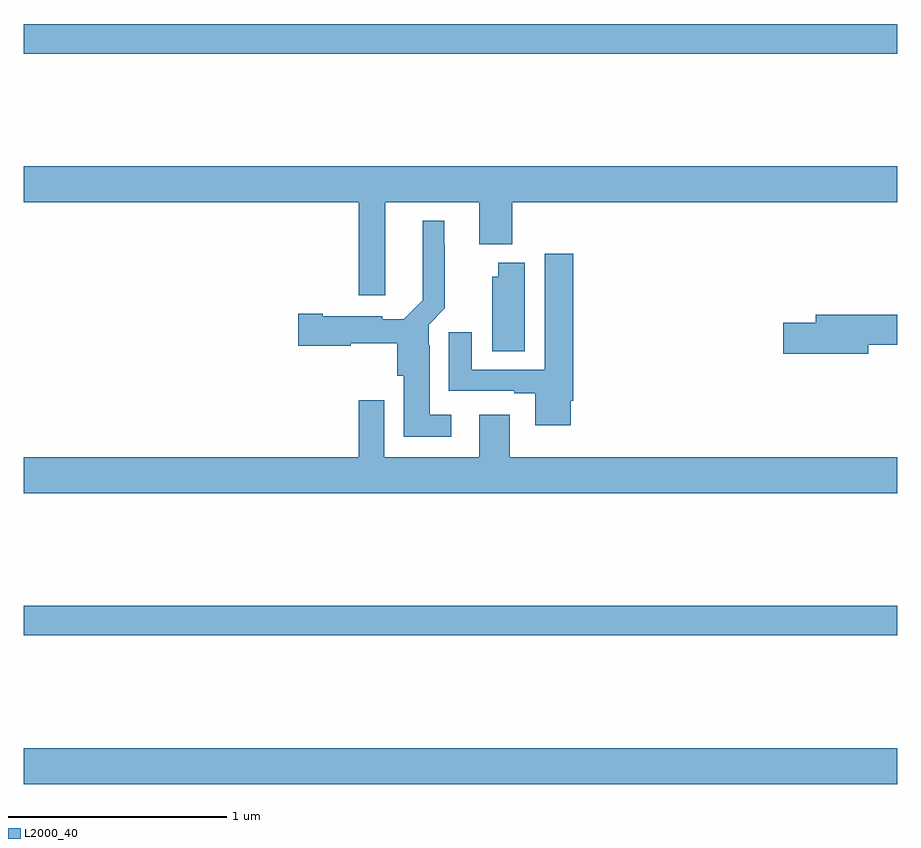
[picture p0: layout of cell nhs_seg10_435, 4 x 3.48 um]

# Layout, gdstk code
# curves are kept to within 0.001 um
import gdstk
lib = gdstk.Library(unit=1e-6, precision=1e-09)
def R(c, l, rs):  # rectangles x0, y0, x1, y1
    for r in rs: c.add(gdstk.rectangle(r[:2], r[2:], *l))
def P(c, l, *ps):  # polygons
    for p in ps: c.add(gdstk.Polygon(p, *l))
L2000_40 = (2000, 40)

nhs_seg10_435 = lib.new_cell('nhs_seg10_435')
R(nhs_seg10_435, L2000_40, [(131,1318.964,135,1319.128), (131,1319.644,135,1319.78), (131,1322.308,135,1322.444)])
P(nhs_seg10_435, L2000_40, [(132.655,1321.628),(133.085,1321.628),(133.085,1321.436),(133.238,1321.436),(133.238,1321.628),(135,1321.628),(135,1321.792),(131,1321.792),(131,1321.628),(132.533,1321.628),(132.533,1321.203),(132.655,1321.203)],
  [(132.958,1320.655),(132.859,1320.655),(132.859,1320.974),(132.855,1320.974),(132.855,1321.068),(132.929,1321.142),(132.929,1321.433),(132.925,1321.433),(132.925,1321.543),(132.827,1321.543),(132.828,1321.18),(132.741,1321.093),(132.642,1321.093),(132.642,1321.105),(132.37,1321.105),(132.37,1321.118),(132.258,1321.118),(132.258,1320.971),(132.498,1320.971),(132.498,1320.983),(132.71,1320.983),(132.71,1320.834),(132.74,1320.834),(132.74,1320.554),(132.958,1320.554)],
  [(133.504,1320.718),(133.517,1320.718),(133.517,1321.393),(133.385,1321.393),(133.385,1320.861),(133.051,1320.861),(133.051,1321.033),(132.947,1321.033),(132.947,1320.765),(133.247,1320.765),(133.247,1320.753),(133.343,1320.753),(133.343,1320.606),(133.504,1320.606)],
  [(133.294,1321.351),(133.172,1321.351),(133.172,1321.287),(133.145,1321.287),(133.145,1320.946),(133.294,1320.946)],
  [(134.866,1320.976),(135,1320.976),(135,1321.112),(134.627,1321.112),(134.627,1321.076),(134.478,1321.076),(134.478,1320.934),(134.866,1320.934)],
  [(135,1320.46),(133.225,1320.46),(133.225,1320.655),(133.085,1320.655),(133.085,1320.46),(132.651,1320.46),(132.651,1320.721),(132.535,1320.721),(132.535,1320.46),(131,1320.46),(131,1320.296),(135,1320.296)])

lib.write_gds('nhs_seg10_435.gds')
